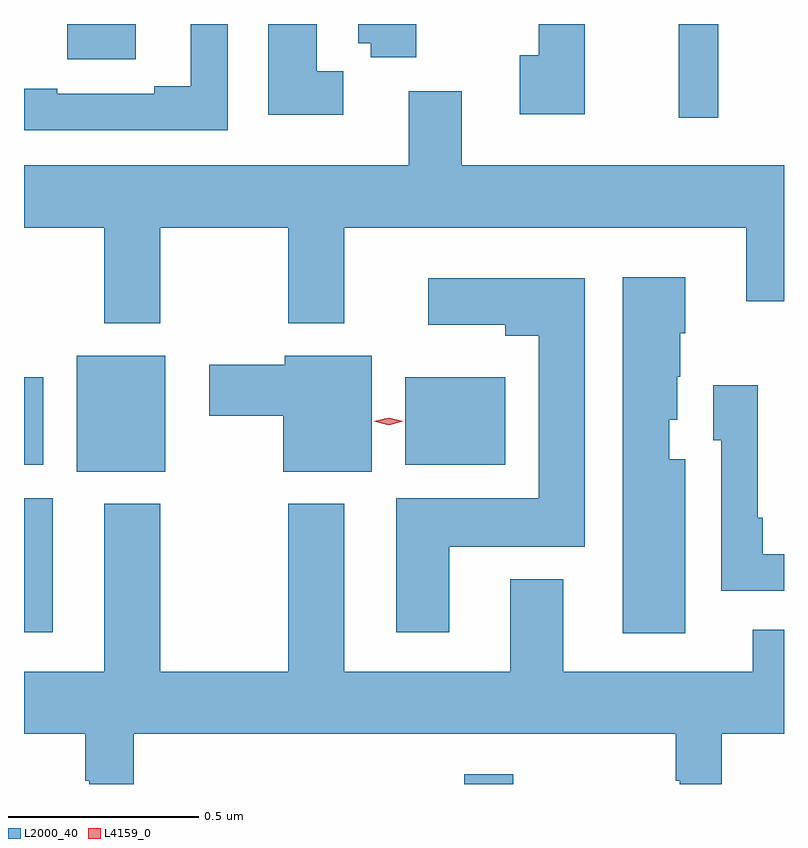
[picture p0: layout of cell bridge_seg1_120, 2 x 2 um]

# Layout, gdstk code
import gdstk
lib = gdstk.Library(unit=1e-6, precision=1e-09)
def R(c, l, rs):  # rectangles x0, y0, x1, y1
    for r in rs: c.add(gdstk.rectangle(r[:2], r[2:], *l))
def P(c, l, *ps):  # polygons
    for p in ps: c.add(gdstk.Polygon(p, *l))
L2000_40 = (2000, 40)
L4159_0 = (4159, 0)

bridge_seg1_120 = lib.new_cell('bridge_seg1_120')
R(bridge_seg1_120, L2000_40, [(126.316,546.272,126.445,546.298), (125.158,546.672,125.233,547.024), (125.297,547.094,125.53,547.399), (125.158,547.112,125.209,547.342), (126.161,547.112,126.424,547.342), (126.881,548.025,126.985,548.272), (125.272,548.179,125.452,548.272)])
P(bridge_seg1_120, L2000_40, [(125.998,548.148),(125.929,548.148),(125.929,548.272),(125.801,548.272),(125.801,548.033),(125.998,548.033)],
  [(126.634,548.272),(126.512,548.272),(126.512,548.19),(126.462,548.19),(126.462,548.034),(126.634,548.034)],
  [(126.19,548.272),(126.038,548.272),(126.038,548.222),(126.07,548.222),(126.07,548.185),(126.19,548.185)],
  [(125.694,548.272),(125.597,548.272),(125.597,548.108),(125.501,548.108),(125.501,548.088),(125.245,548.088),(125.245,548.102),(125.158,548.102),(125.158,547.992),(125.694,547.992)],
  [(125.517,547.736),(125.854,547.736),(125.854,547.484),(126.001,547.484),(126.001,547.736),(127.058,547.736),(127.058,547.542),(127.158,547.542),(127.158,547.9),(126.31,547.9),(126.31,548.095),(126.17,548.095),(126.17,547.9),(125.158,547.9),(125.158,547.736),(125.369,547.736),(125.369,547.484),(125.517,547.484)],
  [(126.898,547.126),(126.856,547.126),(126.856,547.23),(126.877,547.23),(126.877,547.344),(126.885,547.344),(126.885,547.458),(126.898,547.458),(126.898,547.606),(126.734,547.606),(126.734,546.669),(126.898,546.669)],
  [(126.277,546.896),(126.634,546.896),(126.634,547.603),(126.222,547.603),(126.222,547.481),(126.425,547.481),(126.425,547.451),(126.512,547.451),(126.512,547.024),(126.137,547.024),(126.137,546.672),(126.277,546.672)],
  [(126.073,547.399),(125.844,547.399),(125.844,547.375),(125.646,547.375),(125.646,547.241),(125.84,547.241),(125.84,547.094),(126.073,547.094)],
  [(127.158,546.877),(127.102,546.877),(127.102,546.973),(127.089,546.973),(127.089,547.321),(126.972,547.321),(126.972,547.176),(126.993,547.176),(126.993,546.78),(127.158,546.78)],
  [(125.447,546.404),(126.873,546.404),(126.873,546.281),(126.884,546.281),(126.884,546.272),(126.994,546.272),(126.994,546.404),(127.158,546.404),(127.158,546.678),(127.076,546.678),(127.076,546.568),(126.577,546.568),(126.577,546.811),(126.437,546.811),(126.437,546.568),(126.001,546.568),(126.001,547.009),(125.854,547.009),(125.854,546.568),(125.517,546.568),(125.517,547.009),(125.369,547.009),(125.369,546.568),(125.158,546.568),(125.158,546.404),(125.319,546.404),(125.319,546.281),(125.33,546.281),(125.33,546.272),(125.447,546.272)])
P(bridge_seg1_120, L4159_0, [(126.118,547.216),(126.079,547.226),(126.079,547.226),(126.079,547.226),(126.118,547.236),(126.156,547.226),(126.156,547.226),(126.156,547.226)])

lib.write_gds('bridge_seg1_120.gds')
